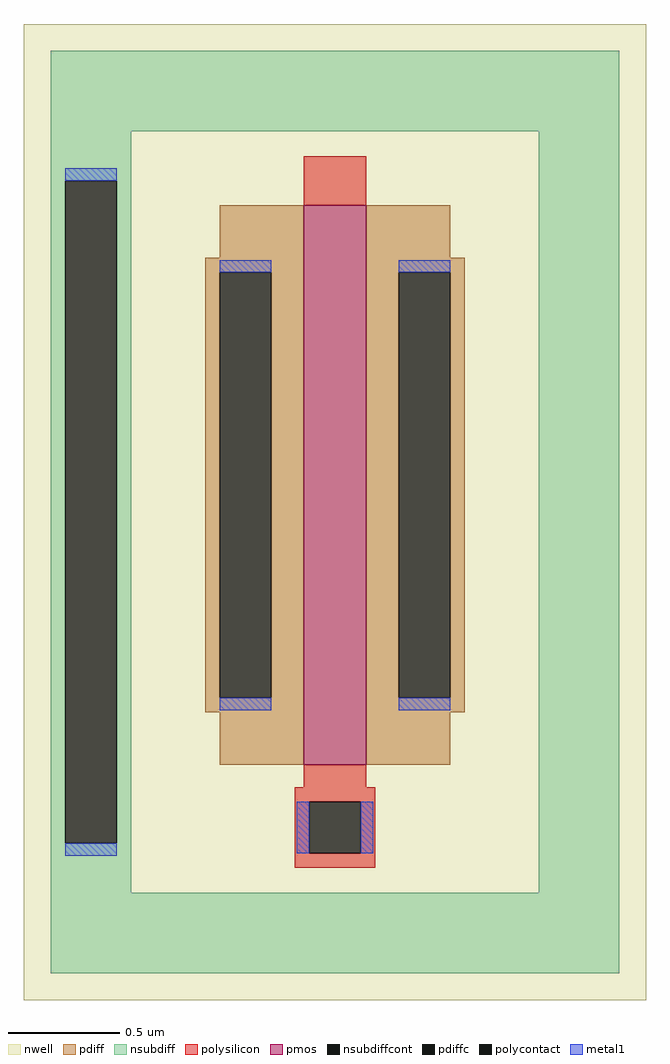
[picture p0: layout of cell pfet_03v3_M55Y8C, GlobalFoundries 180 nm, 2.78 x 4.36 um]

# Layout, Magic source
magic
tech gf180mcuD
magscale 1 10
<< nwell >>
rect -278 -436 278 436
<< pmos >>
rect -28 -226 28 274
<< pdiff >>
rect -103 227 -28 274
rect -116 214 -28 227
rect -116 -166 -103 214
rect -57 -166 -28 214
rect -116 -179 -28 -166
rect -103 -226 -28 -179
rect 28 227 103 274
rect 28 214 116 227
rect 28 -166 57 214
rect 103 -166 116 214
rect 28 -179 116 -166
rect 28 -226 103 -179
<< pdiffc >>
rect -103 -166 -57 214
rect 57 -166 103 214
<< nsubdiff >>
rect -254 340 254 412
rect -254 296 -182 340
rect -254 -296 -241 296
rect -195 -296 -182 296
rect -254 -340 -182 -296
rect 182 -340 254 340
rect -254 -412 254 -340
<< nsubdiffcont >>
rect -241 -296 -195 296
<< polysilicon >>
rect -28 274 28 318
rect -28 -246 28 -226
rect -36 -259 36 -246
rect -36 -305 -23 -259
rect 23 -305 36 -259
rect -36 -318 36 -305
<< polycontact >>
rect -23 -305 23 -259
<< metal1 >>
rect -241 296 -195 307
rect -103 214 -57 225
rect -103 -177 -57 -166
rect 57 214 103 225
rect 57 -177 103 -166
rect -241 -307 -195 -296
rect -34 -305 -23 -259
rect 23 -305 34 -259
<< properties >>
string FIXED_BBOX -218 -376 218 376
string gencell pfet_03v3
string library gf180mcu
string parameters w 2.5 l 0.28 m 1 nf 1 diffcov 80 polycov 100 guard 1 glc 1 grc 0 gtc 0 gbc 0 tbcov 100 rlcov 100 topc 0 botc 1 poverlap 0 doverlap 1 lmin 0.28 wmin 0.22 class mosfet full_metal 0 compatible {pfet_03v3 pfet_05v0 pfet_06v0}
<< end >>
